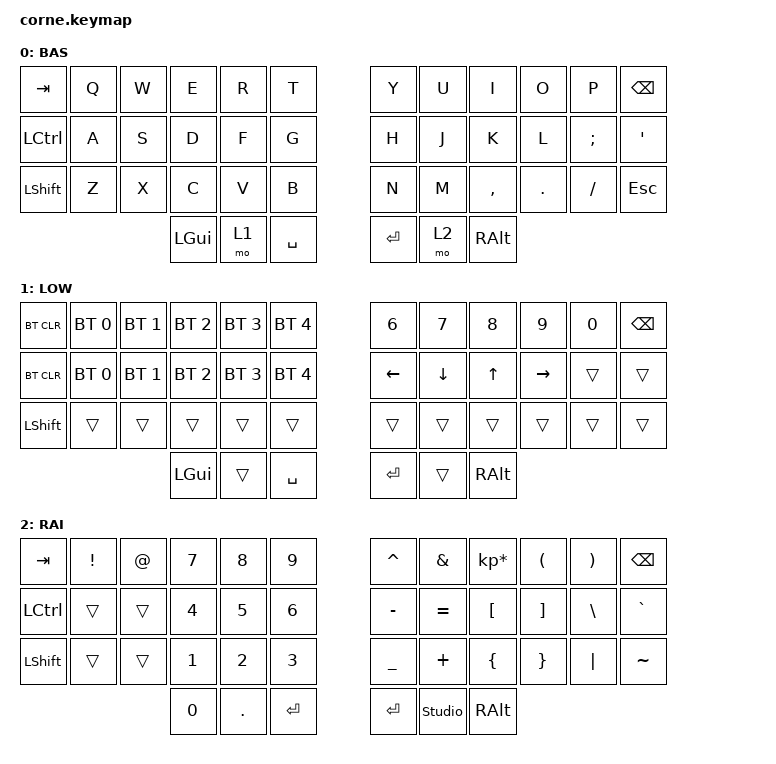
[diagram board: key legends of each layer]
/*
 * Copyright (c) 2020 The ZMK Contributors
 *
 * SPDX-License-Identifier: MIT
 */

#include <behaviors.dtsi>
#include <dt-bindings/zmk/keys.h>
#include <dt-bindings/zmk/bt.h>
#include <dt-bindings/zmk/outputs.h>
#include <dt-bindings/zmk/ext_power.h>
#include <dt-bindings/led/led.h>
#include <dt-bindings/zmk/backlight.h>
#include <dt-bindings/zmk/rgb.h>
#include <dt-bindings/zmk/reset.h>

&led_strip {
    chain-length = <27>;
};
 
/ {

// 组合键定义：必须在根节点 / 下，keymap 节点外
    combos {
        compatible = "zmk,combos";
        combo_bt_layer {
            timeout-ms = <50>;
            key-positions = <24 25 26>; // Z, X, C 键位编号
            bindings = <&mo 1>;        // 指向 layer 索引 3 (即 bt_layer)
        };
        combo_nm_layer {
            timeout-ms = <50>;
            key-positions = <12 13 14>; // Z, X, C 键位编号
            bindings = <&mo 2>;        // 指向 layer 索引 3 (即 bt_layer)
        };

    };

    keymap {
        compatible = "zmk,keymap";

        default_layer {
            display-name = "BAS";
            // -----------------------------------------------------------------------------------------
            // |  TAB |  Q  |  W  |  E  |  R  |  T  |   |  Y  |  U   |  I  |  O  |  P  | BKSP |
            // | CTRL |  A  |  S  |  D  |  F  |  G  |   |  H  |  J   |  K  |  L  |  ;  |  '   |
            // | SHFT |  Z  |  X  |  C  |  V  |  B  |   |  N  |  M   |  ,  |  .  |  /  | ESC  |
            //                    | GUI | LWR | SPC |   | ENT | RSE  | ALT |

            bindings = <
&kp TAB    &kp Q  &kp W  &kp E     &kp R  &kp T        &kp Y    &kp U  &kp I      &kp O    &kp P     &kp BSPC
&kp LCTRL  &kp A  &kp S  &kp D     &kp F  &kp G        &kp H    &kp J  &kp K      &kp L    &kp SEMI  &kp SQT
&kp LSHFT  &kp Z  &kp X  &kp C     &kp V  &kp B        &kp N    &kp M  &kp COMMA  &kp DOT  &kp FSLH  &kp ESC
                         &kp LGUI  &mo 1  &kp SPACE    &kp RET  &mo 2  &kp RALT
            >;
        };

        lower_layer {
            display-name = "LOW";
            // -----------------------------------------------------------------------------------------
            // |  TAB |  1  |  2  |  3  |  4  |  5  |   |  6  |  7  |  8  |  9  |  0  | BKSP |
            // | BTCLR| BT1 | BT2 | BT3 | BT4 | BT5 |   | LFT | DWN |  UP | RGT |     |      |
            // | SHFT |     |     |     |     |     |   |     |     |     |     |     |      |
            //                    | GUI |     | SPC |   | ENT |     | ALT |

            bindings = <
&bt BT_CLR  &bt BT_SEL 0  &bt BT_SEL 1  &bt BT_SEL 2  &bt BT_SEL 3  &bt BT_SEL 4          &kp N6    &kp N7    &kp N8    &kp N9     &kp N0  &kp BSPC
&bt BT_CLR  &bt BT_SEL 0  &bt BT_SEL 1  &bt BT_SEL 2  &bt BT_SEL 3  &bt BT_SEL 4    &kp LEFT  &kp DOWN  &kp UP    &kp RIGHT  &trans  &trans
&kp LSHFT   &trans        &trans        &trans        &trans        &trans          &trans    &trans    &trans    &trans     &trans  &trans
                                        &kp LGUI      &trans        &kp SPACE       &kp RET   &trans    &kp RALT
            >;
        };

        raise_layer {
            display-name = "RAI";
            // -----------------------------------------------------------------------------------------
            // |  TAB |  !  |  @  |  #  |  $  |  %  |   |  ^  |  &  |  *  |  (  |  )  | BKSP |
            // | CTRL |     |     |     |     |     |   |  -  |  =  |  [  |  ]  |  \  |  `   |
            // | SHFT |     |     |     |     |     |   |  _  |  +  |  {  |  }  | "|" |  ~   |
            //                    | GUI |     | SPC |   | ENT |     | ALT |

            bindings = <
&kp TAB    &kp EXCL  &kp AT  &kp N7    &kp N8    &kp N9    &kp CARET  &kp AMPS   &kp KP_MULTIPLY  &kp LPAR  &kp RPAR  &kp BSPC
&kp LCTRL  &trans    &trans  &kp N4    &kp N5    &kp N6    &kp MINUS  &kp EQUAL  &kp LBKT         &kp RBKT  &kp BSLH  &kp GRAVE
&kp LSHFT  &trans    &trans  &kp N1    &kp N2    &kp N3    &kp UNDER  &kp PLUS   &kp LBRC         &kp RBRC  &kp PIPE  &kp TILDE
                             &kp N0    &kp DOT     &kp RET      &kp RET    &studio_unlock     &kp RALT
            >;
        };
        


        extra_1 {
            status = "reserved";
        };
        
        extra_2 {
            status = "reserved";
        };

        extra_3 {
            status = "reserved";
        };
    };
};
